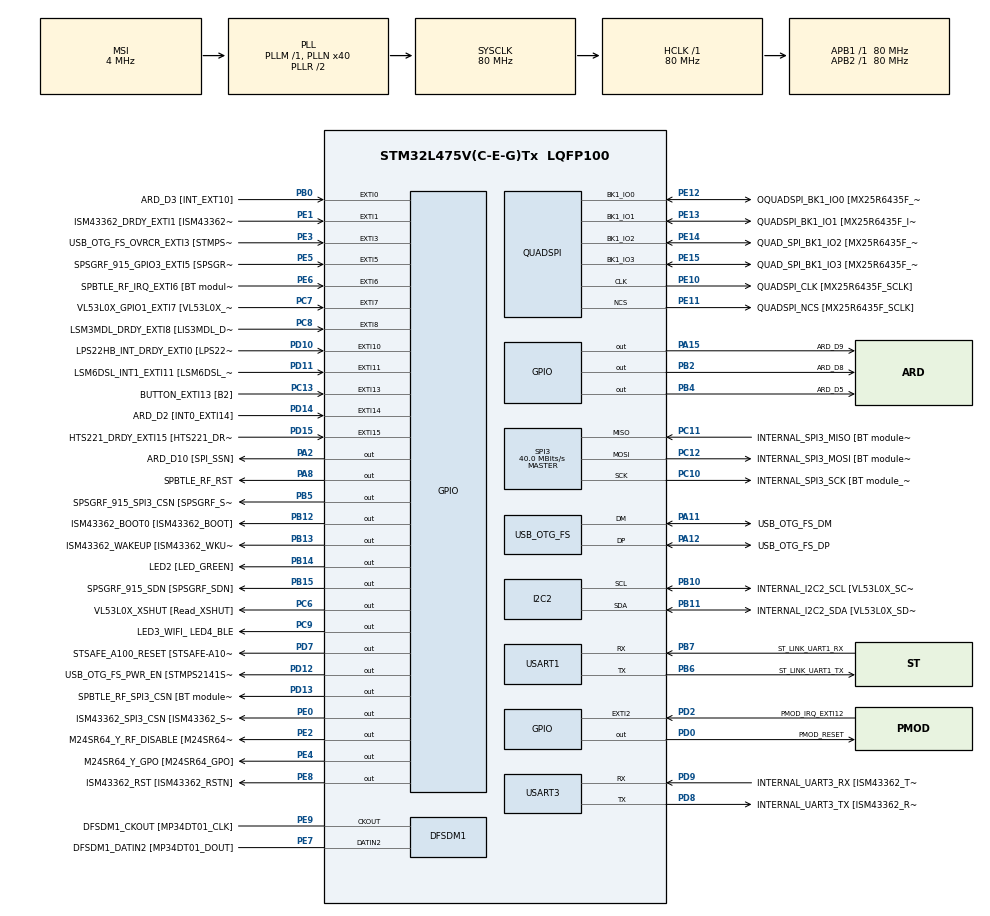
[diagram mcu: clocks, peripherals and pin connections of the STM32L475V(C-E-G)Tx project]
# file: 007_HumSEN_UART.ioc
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Mcu.Family=STM32L4
Mcu.Name=STM32L475V(C-E-G)Tx
Mcu.Package=LQFP100
NVIC.EXTI15_10_IRQn=true\:0\:0\:false\:false\:true\:true\:true\:true
NVIC.EXTI9_5_IRQn=true\:0\:0\:false\:false\:true\:true\:true\:true
NVIC.PriorityGroup=NVIC_PRIORITYGROUP_4
PA0.GPIO_Label=ARD_D1 [UART4_TX]
PA0.Signal=UART4_TX
PA1.GPIO_Label=ARD_D0 [UART4_RX]
PA1.Signal=UART4_RX
PA10.GPIO_Label=USB_OTG_FS_ID
PA10.Signal=USB_OTG_FS_ID
PA11.GPIO_Label=USB_OTG_FS_DM
PA11.Mode=Device_Only
PA11.Signal=USB_OTG_FS_DM
PA12.GPIO_Label=USB_OTG_FS_DP
PA12.Mode=Device_Only
PA12.Signal=USB_OTG_FS_DP
PA13\ (JTMS-SWDIO).GPIO_Label=SYS_JTMS_SWDIO
PA13\ (JTMS-SWDIO).Mode=Serial_Wire
PA13\ (JTMS-SWDIO).Signal=SYS_JTMS-SWDIO
PA14\ (JTCK-SWCLK).GPIO_Label=SYS_JTCK_SWCLK
PA14\ (JTCK-SWCLK).Mode=Serial_Wire
PA14\ (JTCK-SWCLK).Signal=SYS_JTCK-SWCLK
PA15\ (JTDI).GPIO_Label=ARD_D9
PA15\ (JTDI).Signal=GPIO_Output
PA2.GPIO_Label=ARD_D10 [SPI_SSN]
PA2.Signal=GPIO_Output
PA3.GPIO_Label=ARD_D4
PA3.Signal=S_TIM2_CH4
PA4.GPIO_Label=ARD_D7
PA4.Signal=ADCx_IN9
PA5.GPIO_Label=ARD_D13 [SPI1_SCK]
PA5.Signal=SPI1_SCK
PA6.GPIO_Label=ARD_D12 [SPI1_MISO]
PA6.Signal=SPI1_MISO
PA7.GPIO_Label=ARD_D11 [SPI1_MOSI]
PA7.Signal=SPI1_MOSI
PA8.GPIO_Label=SPBTLE_RF_RST
PA8.Signal=GPIO_Output
PA9.GPIO_Label=USB_OTG_FS_VBUS [STMPS2141STR_OUT]
PA9.Signal=USB_OTG_FS_VBUS
PB0.GPIO_Label=ARD_D3 [INT_EXT10]
PB0.Signal=GPXTI0
PB1.GPIO_Label=ARD_D6 [ADC1_IN6]
PB1.Signal=ADCx_IN16
PB10.GPIO_Label=INTERNAL_I2C2_SCL [VL53L0X_SCL]
PB10.GPIO_Pu=GPIO_PULLUP
PB10.Mode=I2C
PB10.Signal=I2C2_SCL
PB11.GPIO_Label=INTERNAL_I2C2_SDA [VL53L0X_SDA]
PB11.GPIO_Pu=GPIO_PULLUP
PB11.Mode=I2C
PB11.Signal=I2C2_SDA
PB12.GPIO_Label=ISM43362_BOOT0 [ISM43362_BOOT]
PB12.Signal=GPIO_Output
PB13.GPIO_Label=ISM43362_WAKEUP [ISM43362_WKUP]
PB13.Signal=GPIO_Output
PB14.GPIO_Label=LED2 [LED_GREEN]
PB14.Signal=GPIO_Output
PB15.GPIO_Label=SPSGRF_915_SDN [SPSGRF_SDN]
PB15.Signal=GPIO_Output
PB2.GPIO_Label=ARD_D8
PB2.Signal=GPIO_Output
PB3\ (JTDO-TRACESWO).GPIO_Label=SYS_JTD0_SWO
PB3\ (JTDO-TRACESWO).Signal=SYS_JTDO-SWO
PB4\ (NJTRST).GPIO_Label=ARD_D5
PB4\ (NJTRST).Signal=GPIO_Output
PB5.GPIO_Label=SPSGRF_915_SPI3_CSN [SPSGRF_SPI_CS]
PB5.PinState=GPIO_PIN_SET
PB5.Signal=GPIO_Output
PB6.GPIO_Label=ST_LINK_UART1_TX
PB6.Mode=Asynchronous
PB6.Signal=USART1_TX
PB7.GPIO_Label=ST_LINK_UART1_RX
PB7.Mode=Asynchronous
PB7.Signal=USART1_RX
PB8.GPIO_Label=ARD_D15 [I2C1_SCL]
PB8.Signal=I2C1_SCL
PB9.GPIO_Label=ARD_D14 [I2C1_SDA]
PB9.Signal=I2C1_SDA
PC0.GPIO_Label=ARD_A5 [ADC]
PC0.Signal=ADCx_IN1
PC1.GPIO_Label=ARD_A4 [ADC]
PC1.Signal=ADCx_IN2
PC10.GPIO_Label=INTERNAL_SPI3_SCK [BT module_SPI_SCLK] [ISM43362_SCK]
PC10.Mode=Full_Duplex_Master
PC10.Signal=SPI3_SCK
PC11.GPIO_Label=INTERNAL_SPI3_MISO [BT module_SPI_MISO] [ISM43362_MISO]
PC11.Mode=Full_Duplex_Master
PC11.Signal=SPI3_MISO
PC12.GPIO_Label=INTERNAL_SPI3_MOSI [BT module_SPI_MOSI] [ISM43362_MOSI]
PC12.Mode=Full_Duplex_Master
PC12.Signal=SPI3_MOSI
PC13.GPIO_Label=BUTTON_EXTI13 [B2]
PC13.GPIO_ModeDefaultEXTI=GPIO_MODE_IT_FALLING
PC13.Signal=GPXTI13
PC14-OSC32_IN\ (PC14).Mode=LSE-External-Oscillator
PC14-OSC32_IN\ (PC14).Signal=RCC_OSC32_IN
PC15-OSC32_OUT\ (PC15).Mode=LSE-External-Oscillator
PC15-OSC32_OUT\ (PC15).Signal=RCC_OSC32_OUT
PC2.GPIO_Label=ARD_A3 [ADC]
PC2.Signal=ADCx_IN3
PC3.GPIO_Label=ARD_A2 [ADC]
PC3.Signal=ADCx_IN4
PC4.GPIO_Label=ARD_A1 [ADC]
PC4.Signal=ADCx_IN13
PC5.GPIO_Label=ARD_A0 [ADC]
PC5.Signal=ADCx_IN14
PC6.GPIO_Label=VL53L0X_XSHUT [Read_XSHUT]
PC6.Signal=GPIO_Output
PC7.GPIO_Label=VL53L0X_GPIO1_EXTI7 [VL53L0X_GPIO1]
PC7.Signal=GPXTI7
PC8.GPIO_Label=LSM3MDL_DRDY_EXTI8 [LIS3MDL_DRDY]
PC8.Signal=GPXTI8
PC9.GPIO_Label=LED3_WIFI_ LED4_BLE
PC9.Signal=GPIO_Output
PD0.GPIO_Label=PMOD_RESET
PD0.Signal=GPIO_Output
PD1.GPIO_Label=PMOD_SPI2_SCK
PD1.Signal=SPI2_SCK
PD10.GPIO_Label=LPS22HB_INT_DRDY_EXTI0 [LPS22HB_INT_DRDY] 
PD10.Signal=GPXTI10
PD11.GPIO_Label=LSM6DSL_INT1_EXTI11 [LSM6DSL_INT1]
PD11.Signal=GPXTI11
PD12.GPIO_Label=USB_OTG_FS_PWR_EN [STMPS2141STR_EN]
PD12.Signal=GPIO_Output
PD13.GPIO_Label=SPBTLE_RF_SPI3_CSN [BT module_SPI_CS]
PD13.PinState=GPIO_PIN_SET
PD13.Signal=GPIO_Output
PD14.GPIO_Label=ARD_D2 [INT0_EXTI14]
PD14.Signal=GPXTI14
PD15.GPIO_Label=HTS221_DRDY_EXTI15 [HTS221_DRDY]
PD15.Signal=GPXTI15
PD2.GPIO_Label=PMOD_IRQ_EXTI12
PD2.Signal=GPXTI2
PD3.GPIO_Label=PMOD_UART2_CTS
PD3.Signal=USART2_CTS
PD4.GPIO_Label=PMOD_UART2_RTS
PD4.Signal=USART2_RTS
PD5.GPIO_Label=PMOD_UART2_TX
PD5.Signal=USART2_TX
PD6.GPIO_Label=PMOD_UART2_RX
PD6.Signal=USART2_RX
PD7.GPIO_Label=STSAFE_A100_RESET [STSAFE-A100_RESET]
PD7.Signal=GPIO_Output
PD8.GPIO_Label=INTERNAL_UART3_TX [ISM43362_RX]
PD8.Mode=Asynchronous
PD8.Signal=USART3_TX
PD9.GPIO_Label=INTERNAL_UART3_RX [ISM43362_TX]
PD9.Mode=Asynchronous
PD9.Signal=USART3_RX
PE0.GPIO_Label=ISM43362_SPI3_CSN [ISM43362_SSN]
PE0.PinState=GPIO_PIN_SET
PE0.Signal=GPIO_Output
PE1.GPIO_Label=ISM43362_DRDY_EXTI1 [ISM43362_DATARDY]
PE1.Signal=GPXTI1
PE10.GPIO_Label=QUADSPI_CLK [MX25R6435F_SCLK]
PE10.Mode=Single Bank
PE10.Signal=QUADSPI_CLK
PE11.GPIO_Label=QUADSPI_NCS [MX25R6435F_SCLK]
PE11.Mode=Single Bank
PE11.Signal=QUADSPI_NCS
PE12.GPIO_Label=OQUADSPI_BK1_IO0 [MX25R6435F_IO0]
PE12.Mode=Single Bank
PE12.Signal=QUADSPI_BK1_IO0
PE13.GPIO_Label=QUADSPI_BK1_IO1 [MX25R6435F_IO1]
PE13.Mode=Single Bank
PE13.Signal=QUADSPI_BK1_IO1
PE14.GPIO_Label=QUAD_SPI_BK1_IO2 [MX25R6435F_IO2]
PE14.Mode=Single Bank
PE14.Signal=QUADSPI_BK1_IO2
PE15.GPIO_Label=QUAD_SPI_BK1_IO3 [MX25R6435F_IO3]
PE15.Mode=Single Bank
PE15.Signal=QUADSPI_BK1_IO3
PE2.GPIO_Label=M24SR64_Y_RF_DISABLE [M24SR64_RFDIS]
PE2.Signal=GPIO_Output
PE3.GPIO_Label=USB_OTG_FS_OVRCR_EXTI3 [STMPS2141STR_FAULT]
PE3.Signal=GPXTI3
PE4.GPIO_Label=M24SR64_Y_GPO [M24SR64_GPO]
PE4.Signal=GPIO_Output
PE5.GPIO_Label=SPSGRF_915_GPIO3_EXTI5 [SPSGRF_GPIO_3]
PE5.Signal=GPXTI5
PE6.GPIO_Label=SPBTLE_RF_IRQ_EXTI6 [BT module_SPI_IRQ]
PE6.Signal=GPXTI6
PE7.GPIO_Label=DFSDM1_DATIN2 [MP34DT01_DOUT]
PE7.Signal=S_DATAIN2DFSDM1
PE8.GPIO_Label=ISM43362_RST [ISM43362_RSTN]
PE8.Signal=GPIO_Output
PE9.GPIO_Label=DFSDM1_CKOUT [MP34DT01_CLK]
PE9.Signal=S_CKOUTDFSDM1
ProjectManager.HeapSize=0x200
ProjectManager.StackSize=0x400
ProjectManager.TargetToolchain=STM32CubeIDE
QUADSPI.ClockPrescaler=2
QUADSPI.FifoThreshold=4
QUADSPI.FlashSize=23
QUADSPI.SampleShifting=QSPI_SAMPLE_SHIFTING_HALFCYCLE
RCC.ADCFreq_Value=48000000
RCC.AHBFreq_Value=80000000
RCC.APB1Freq_Value=80000000
RCC.APB1TimFreq_Value=80000000
RCC.APB2Freq_Value=80000000
RCC.APB2TimFreq_Value=80000000
RCC.CortexFreq_Value=80000000
RCC.HCLKFreq_Value=80000000
RCC.HSE_VALUE=8000000
RCC.HSI_VALUE=16000000
RCC.MSI_VALUE=4000000
RCC.PLLN=40
RCC.PLLSAI1N=24
RCC.SYSCLKFreq_VALUE=80000000
RCC.SYSCLKSource=RCC_SYSCLKSOURCE_PLLCLK
RCC.USBFreq_Value=48000000
RCC.VCOOutputFreq_Value=160000000
SH.ADCx_IN1.0=ADC1_IN1
SH.ADCx_IN13.0=ADC1_IN13
SH.ADCx_IN14.0=ADC1_IN14
SH.ADCx_IN16.0=ADC1_IN16
SH.ADCx_IN2.0=ADC1_IN2
SH.ADCx_IN3.0=ADC1_IN3
SH.ADCx_IN4.0=ADC1_IN4
SH.ADCx_IN9.0=ADC1_IN9
SH.S_CKOUTDFSDM1.0=DFSDM1_CKOUT,CKOUT
SH.S_CKOUTDFSDM1.1=DFSDM1_CKOUT,PDM_SPI_Input_from_ch12_and_Internal_Clock
SH.S_DATAIN2DFSDM1.0=DFSDM1_DATIN2,PDM_SPI_Input_from_ch12_and_Internal_Clock
SH.S_TIM2_CH4.0=TIM2_CH4
SPI3.CalculateBaudRate=40.0 MBits/s
SPI3.Direction=SPI_DIRECTION_2LINES
SPI3.Mode=SPI_MODE_MASTER
SPI3.VirtualType=VM_MASTER
USART1.VirtualMode-Asynchronous=VM_ASYNC
USART3.VirtualMode-Asynchronous=VM_ASYNC
USB_OTG_FS.VirtualMode=Device_Only
board=B-L475E-IOT01A2

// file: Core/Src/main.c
/* USER CODE BEGIN Header */
/**
  ******************************************************************************
  * @file           : main.c
  * @brief          : Main program body
  ******************************************************************************
  * @attention
  *
  * Copyright (c) 2024 STMicroelectronics.
  * All rights reserved.
  *
  * This software is licensed under terms that can be found in the LICENSE file
  * in the root directory of this software component.
  * If no LICENSE file comes with this software, it is provided AS-IS.
  *
  ******************************************************************************
  */
/* USER CODE END Header */
#include "main.h"

/* USER CODE BEGIN Includes */
#include <stdio.h>
#include "stm32l475e_iot01.h"
#include "stm32l475e_iot01_hsensor.h"
#include <math.h>
/* USER CODE END Includes */

DFSDM_Channel_HandleTypeDef hdfsdm1_channel1;

I2C_HandleTypeDef hi2c2;

QSPI_HandleTypeDef hqspi;

SPI_HandleTypeDef hspi3;

UART_HandleTypeDef huart1;
UART_HandleTypeDef huart3;

PCD_HandleTypeDef hpcd_USB_OTG_FS;

/* USER CODE BEGIN PV */

float humidity_value = 0;  // Measured temperature value
char str_tmp[100] = ""; // Formatted message to display the temperature value
uint8_t msg0[] = "$$$$$$ A Project by @Balaji303 $$$$$$\n\n\r";
uint8_t msg1[] = "****** Humidity values measurement ******\n\n\r";
uint8_t msg2[] = "=====> Initialize Humidity sensor HTS221 \r\n";
uint8_t msg3[] = "=====> Humidity sensor HTS221 initialized \r\n ";
uint8_t art0[] = "       ,.,\r\n ";
uint8_t art1[] = "      MMMM_    ,..,\r\n ";
uint8_t art2[] = "        \"_ \"__\"MMMMM          ,...,,\r\n ";
uint8_t art3[] = " ,..., __.\" --\"    ,.,     _-\"MMMMMMM\r\n ";
uint8_t art4[] = "MMMMMM\"___ \"_._   MMM\"_.\"\" _ \"\"\"\"\"\"\r\n ";
uint8_t art5[] = "  \"\"\"\"\"    \"\" , \_.   \"_. .\"\r\n ";
uint8_t art6[] = "        ,., _\"__ \__./ .\"\r\n ";
uint8_t art7[] = "       MMMMM_\"  \"_    ./\r\n ";
uint8_t art8[] = "        ''''      (    )\r\n ";
uint8_t art9[] = " ._______________.-'____\"---._.\r\n ";
uint8_t art10[] = "  \\       @Balaji303         /\r\n ";
uint8_t art11[] = "   \\________________________/\r\n";
uint8_t art12[] = "    (_)                    (_)\r\n ";

uint8_t train1[] = "                                          &&&&&&&&&\n\r";
uint8_t train2[] = "                                        &&&\n\r";
uint8_t train3[] = "                                       &&\n\r";
uint8_t train4[] = "                                      &  _____ ___________\n\r";
uint8_t train5[] = "                                     II__|[] | |   I I   |\n\r";
uint8_t train6[] = "       @Balaji303                   |        |_|_  I I  _|\n\r";
uint8_t train7[] = "                                   < OO----OOO   OO---OO\n\r";
uint8_t train8[] = "**********************************************************\n\r";

uint8_t rain1[] = "                                          &&&&&&&&&\n\r                                        &&&\n\r                                       &&\n\r                                      &  _____ ___________\n\r                                     II__|[] | |   I I   |\n\r       @Balaji303                   |        |_|_  I I  _|\n\r                                   < OO----OOO   OO---OO\n\r**********************************************************\n\r";
/* USER CODE END PV */

void SystemClock_Config(void);
static void MX_GPIO_Init(void);
static void MX_DFSDM1_Init(void);
static void MX_I2C2_Init(void);
static void MX_QUADSPI_Init(void);
static void MX_SPI3_Init(void);
static void MX_USART1_UART_Init(void);
static void MX_USART3_UART_Init(void);
static void MX_USB_OTG_FS_PCD_Init(void);

int main(void)
{

  /* MCU Configuration--------------------------------------------------------*/

  /* Reset of all peripherals, Initializes the Flash interface and the Systick. */
  HAL_Init();

  /* Configure the system clock */
  SystemClock_Config();

  /* Initialize all configured peripherals */
  MX_GPIO_Init();
  MX_DFSDM1_Init();
  MX_I2C2_Init();
  MX_QUADSPI_Init();
  MX_SPI3_Init();
  MX_USART1_UART_Init();
  MX_USART3_UART_Init();
  MX_USB_OTG_FS_PCD_Init();
  /* USER CODE BEGIN 2 */
  HAL_UART_Transmit(&huart1,art0,sizeof(art0),1000);
  HAL_UART_Transmit(&huart1,art1,sizeof(art1),1000);
  HAL_UART_Transmit(&huart1,art2,sizeof(art2),1000);
  HAL_UART_Transmit(&huart1,art3,sizeof(art3),1000);
  HAL_UART_Transmit(&huart1,art4,sizeof(art4),1000);
  HAL_UART_Transmit(&huart1,art5,sizeof(art5),1000);
  HAL_UART_Transmit(&huart1,art6,sizeof(art6),1000);
  HAL_UART_Transmit(&huart1,art7,sizeof(art7),1000);
  HAL_UART_Transmit(&huart1,art8,sizeof(art8),1000);
  HAL_UART_Transmit(&huart1,art9,sizeof(art9),1000);
  HAL_UART_Transmit(&huart1,art10,sizeof(art10),1000);
  HAL_UART_Transmit(&huart1,art11,sizeof(art11),1000);
  HAL_UART_Transmit(&huart1,art12,sizeof(art12),1000);

//  HAL_UART_Transmit(&huart1,train1,sizeof(train1),1000);
//  HAL_UART_Transmit(&huart1,train2,sizeof(train2),1000);
//  HAL_UART_Transmit(&huart1,train3,sizeof(train3),1000);
//  HAL_UART_Transmit(&huart1,train4,sizeof(train4),1000);
//  HAL_UART_Transmit(&huart1,train5,sizeof(train5),1000);
//  HAL_UART_Transmit(&huart1,train6,sizeof(train6),1000);
//  HAL_UART_Transmit(&huart1,train7,sizeof(train7),1000);
//  HAL_UART_Transmit(&huart1,train8,sizeof(train8),1000);

    HAL_UART_Transmit(&huart1,rain1,sizeof(rain1),1000);

  HAL_UART_Transmit(&huart1,msg0,sizeof(msg1),1000);
  HAL_UART_Transmit(&huart1,msg1,sizeof(msg1),1000);
  HAL_UART_Transmit(&huart1,msg2,sizeof(msg2),1000);
  BSP_HSENSOR_Init();
  HAL_UART_Transmit(&huart1,msg3,sizeof(msg3),1000);
  /* USER CODE END 2 */

  /* Infinite loop */
  while (1)
  {

    /* USER CODE BEGIN 3 */
	  humidity_value = BSP_HSENSOR_ReadHumidity();
	  int tmpInt1 = humidity_value;
	  float tmpFrac = humidity_value - tmpInt1;
	  int tmpInt2 = trunc(tmpFrac * 100);
	  snprintf(str_tmp,100,"  Humidity = %d.%02d\n\r", tmpInt1, tmpInt2);
	  HAL_UART_Transmit(&huart1,( uint8_t *)str_tmp,sizeof(str_tmp),1000);
	  HAL_Delay(1000);
  }
  /* USER CODE END 3 */
}

void SystemClock_Config(void)
{
  RCC_OscInitTypeDef RCC_OscInitStruct = {0};
  RCC_ClkInitTypeDef RCC_ClkInitStruct = {0};

  /** Configure the main internal regulator output voltage
  */
  if (HAL_PWREx_ControlVoltageScaling(PWR_REGULATOR_VOLTAGE_SCALE1) != HAL_OK)
  {
    Error_Handler();
  }

  /** Configure LSE Drive Capability
  */
  HAL_PWR_EnableBkUpAccess();
  __HAL_RCC_LSEDRIVE_CONFIG(RCC_LSEDRIVE_LOW);

  /** Initializes the RCC Oscillators according to the specified parameters
  * in the RCC_OscInitTypeDef structure.
  */
  RCC_OscInitStruct.OscillatorType = RCC_OSCILLATORTYPE_LSE|RCC_OSCILLATORTYPE_MSI;
  RCC_OscInitStruct.LSEState = RCC_LSE_ON;
  RCC_OscInitStruct.MSIState = RCC_MSI_ON;
  RCC_OscInitStruct.MSICalibrationValue = 0;
  RCC_OscInitStruct.MSIClockRange = RCC_MSIRANGE_6;
  RCC_OscInitStruct.PLL.PLLState = RCC_PLL_ON;
  RCC_OscInitStruct.PLL.PLLSource = RCC_PLLSOURCE_MSI;
  RCC_OscInitStruct.PLL.PLLM = 1;
  RCC_OscInitStruct.PLL.PLLN = 40;
  RCC_OscInitStruct.PLL.PLLP = RCC_PLLP_DIV7;
  RCC_OscInitStruct.PLL.PLLQ = RCC_PLLQ_DIV2;
  RCC_OscInitStruct.PLL.PLLR = RCC_PLLR_DIV2;
  if (HAL_RCC_OscConfig(&RCC_OscInitStruct) != HAL_OK)
  {
    Error_Handler();
  }

  /** Initializes the CPU, AHB and APB buses clocks
  */
  RCC_ClkInitStruct.ClockType = RCC_CLOCKTYPE_HCLK|RCC_CLOCKTYPE_SYSCLK
                              |RCC_CLOCKTYPE_PCLK1|RCC_CLOCKTYPE_PCLK2;
  RCC_ClkInitStruct.SYSCLKSource = RCC_SYSCLKSOURCE_PLLCLK;
  RCC_ClkInitStruct.AHBCLKDivider = RCC_SYSCLK_DIV1;
  RCC_ClkInitStruct.APB1CLKDivider = RCC_HCLK_DIV1;
  RCC_ClkInitStruct.APB2CLKDivider = RCC_HCLK_DIV1;

  if (HAL_RCC_ClockConfig(&RCC_ClkInitStruct, FLASH_LATENCY_4) != HAL_OK)
  {
    Error_Handler();
  }

  /** Enable MSI Auto calibration
  */
  HAL_RCCEx_EnableMSIPLLMode();
}

static void MX_DFSDM1_Init(void)
{

  hdfsdm1_channel1.Instance = DFSDM1_Channel1;
  hdfsdm1_channel1.Init.OutputClock.Activation = ENABLE;
  hdfsdm1_channel1.Init.OutputClock.Selection = DFSDM_CHANNEL_OUTPUT_CLOCK_SYSTEM;
  hdfsdm1_channel1.Init.OutputClock.Divider = 2;
  hdfsdm1_channel1.Init.Input.Multiplexer = DFSDM_CHANNEL_EXTERNAL_INPUTS;
  hdfsdm1_channel1.Init.Input.DataPacking = DFSDM_CHANNEL_STANDARD_MODE;
  hdfsdm1_channel1.Init.Input.Pins = DFSDM_CHANNEL_FOLLOWING_CHANNEL_PINS;
  hdfsdm1_channel1.Init.SerialInterface.Type = DFSDM_CHANNEL_SPI_RISING;
  hdfsdm1_channel1.Init.SerialInterface.SpiClock = DFSDM_CHANNEL_SPI_CLOCK_INTERNAL;
  hdfsdm1_channel1.Init.Awd.FilterOrder = DFSDM_CHANNEL_FASTSINC_ORDER;
  hdfsdm1_channel1.Init.Awd.Oversampling = 1;
  hdfsdm1_channel1.Init.Offset = 0;
  hdfsdm1_channel1.Init.RightBitShift = 0x00;
  if (HAL_DFSDM_ChannelInit(&hdfsdm1_channel1) != HAL_OK)
  {
    Error_Handler();
  }

}

static void MX_I2C2_Init(void)
{

  hi2c2.Instance = I2C2;
  hi2c2.Init.Timing = 0x00000E14;
  hi2c2.Init.OwnAddress1 = 0;
  hi2c2.Init.AddressingMode = I2C_ADDRESSINGMODE_7BIT;
  hi2c2.Init.DualAddressMode = I2C_DUALADDRESS_DISABLE;
  hi2c2.Init.OwnAddress2 = 0;
  hi2c2.Init.OwnAddress2Masks = I2C_OA2_NOMASK;
  hi2c2.Init.GeneralCallMode = I2C_GENERALCALL_DISABLE;
  hi2c2.Init.NoStretchMode = I2C_NOSTRETCH_DISABLE;
  if (HAL_I2C_Init(&hi2c2) != HAL_OK)
  {
    Error_Handler();
  }

  /** Configure Analogue filter
  */
  if (HAL_I2CEx_ConfigAnalogFilter(&hi2c2, I2C_ANALOGFILTER_ENABLE) != HAL_OK)
  {
    Error_Handler();
  }

  /** Configure Digital filter
  */
  if (HAL_I2CEx_ConfigDigitalFilter(&hi2c2, 0) != HAL_OK)
  {
    Error_Handler();
  }

}

static void MX_QUADSPI_Init(void)
{

  /* QUADSPI parameter configuration*/
  hqspi.Instance = QUADSPI;
  hqspi.Init.ClockPrescaler = 2;
  hqspi.Init.FifoThreshold = 4;
  hqspi.Init.SampleShifting = QSPI_SAMPLE_SHIFTING_HALFCYCLE;
  hqspi.Init.FlashSize = 23;
  hqspi.Init.ChipSelectHighTime = QSPI_CS_HIGH_TIME_1_CYCLE;
  hqspi.Init.ClockMode = QSPI_CLOCK_MODE_0;
  if (HAL_QSPI_Init(&hqspi) != HAL_OK)
  {
    Error_Handler();
  }

}

static void MX_SPI3_Init(void)
{

  /* SPI3 parameter configuration*/
  hspi3.Instance = SPI3;
  hspi3.Init.Mode = SPI_MODE_MASTER;
  hspi3.Init.Direction = SPI_DIRECTION_2LINES;
  hspi3.Init.DataSize = SPI_DATASIZE_4BIT;
  hspi3.Init.CLKPolarity = SPI_POLARITY_LOW;
  hspi3.Init.CLKPhase = SPI_PHASE_1EDGE;
  hspi3.Init.NSS = SPI_NSS_SOFT;
  hspi3.Init.BaudRatePrescaler = SPI_BAUDRATEPRESCALER_2;
  hspi3.Init.FirstBit = SPI_FIRSTBIT_MSB;
  hspi3.Init.TIMode = SPI_TIMODE_DISABLE;
  hspi3.Init.CRCCalculation = SPI_CRCCALCULATION_DISABLE;
  hspi3.Init.CRCPolynomial = 7;
  hspi3.Init.CRCLength = SPI_CRC_LENGTH_DATASIZE;
  hspi3.Init.NSSPMode = SPI_NSS_PULSE_ENABLE;
  if (HAL_SPI_Init(&hspi3) != HAL_OK)
  {
    Error_Handler();
  }

}

static void MX_USART1_UART_Init(void)
{

  huart1.Instance = USART1;
  huart1.Init.BaudRate = 115200;
  huart1.Init.WordLength = UART_WORDLENGTH_8B;
  huart1.Init.StopBits = UART_STOPBITS_1;
  huart1.Init.Parity = UART_PARITY_NONE;
  huart1.Init.Mode = UART_MODE_TX_RX;
  huart1.Init.HwFlowCtl = UART_HWCONTROL_NONE;
  huart1.Init.OverSampling = UART_OVERSAMPLING_16;
  huart1.Init.OneBitSampling = UART_ONE_BIT_SAMPLE_DISABLE;
  huart1.AdvancedInit.AdvFeatureInit = UART_ADVFEATURE_NO_INIT;
  if (HAL_UART_Init(&huart1) != HAL_OK)
  {
    Error_Handler();
  }

}

static void MX_USART3_UART_Init(void)
{

  huart3.Instance = USART3;
  huart3.Init.BaudRate = 115200;
  huart3.Init.WordLength = UART_WORDLENGTH_8B;
  huart3.Init.StopBits = UART_STOPBITS_1;
  huart3.Init.Parity = UART_PARITY_NONE;
  huart3.Init.Mode = UART_MODE_TX_RX;
  huart3.Init.HwFlowCtl = UART_HWCONTROL_NONE;
  huart3.Init.OverSampling = UART_OVERSAMPLING_16;
  huart3.Init.OneBitSampling = UART_ONE_BIT_SAMPLE_DISABLE;
  huart3.AdvancedInit.AdvFeatureInit = UART_ADVFEATURE_NO_INIT;
  if (HAL_UART_Init(&huart3) != HAL_OK)
  {
    Error_Handler();
  }

}

static void MX_USB_OTG_FS_PCD_Init(void)
{

  hpcd_USB_OTG_FS.Instance = USB_OTG_FS;
  hpcd_USB_OTG_FS.Init.dev_endpoints = 6;
  hpcd_USB_OTG_FS.Init.speed = PCD_SPEED_FULL;
  hpcd_USB_OTG_FS.Init.phy_itface = PCD_PHY_EMBEDDED;
  hpcd_USB_OTG_FS.Init.Sof_enable = DISABLE;
  hpcd_USB_OTG_FS.Init.low_power_enable = DISABLE;
  hpcd_USB_OTG_FS.Init.lpm_enable = DISABLE;
  hpcd_USB_OTG_FS.Init.battery_charging_enable = DISABLE;
  hpcd_USB_OTG_FS.Init.use_dedicated_ep1 = DISABLE;
  hpcd_USB_OTG_FS.Init.vbus_sensing_enable = DISABLE;
  if (HAL_PCD_Init(&hpcd_USB_OTG_FS) != HAL_OK)
  {
    Error_Handler();
  }

}

static void MX_GPIO_Init(void)
{
  GPIO_InitTypeDef GPIO_InitStruct = {0};

  /* GPIO Ports Clock Enable */
  __HAL_RCC_GPIOE_CLK_ENABLE();
  __HAL_RCC_GPIOC_CLK_ENABLE();
  __HAL_RCC_GPIOA_CLK_ENABLE();
  __HAL_RCC_GPIOB_CLK_ENABLE();
  __HAL_RCC_GPIOD_CLK_ENABLE();

  /*Configure GPIO pin Output Level */
  HAL_GPIO_WritePin(GPIOE, M24SR64_Y_RF_DISABLE_Pin|M24SR64_Y_GPO_Pin|ISM43362_RST_Pin, GPIO_PIN_RESET);

  /*Configure GPIO pin Output Level */
  HAL_GPIO_WritePin(GPIOA, ARD_D10_Pin|SPBTLE_RF_RST_Pin|ARD_D9_Pin, GPIO_PIN_RESET);

  /*Configure GPIO pin Output Level */
  HAL_GPIO_WritePin(GPIOB, ARD_D8_Pin|ISM43362_BOOT0_Pin|ISM43362_WAKEUP_Pin|LED2_Pin
                          |SPSGRF_915_SDN_Pin|ARD_D5_Pin, GPIO_PIN_RESET);

  /*Configure GPIO pin Output Level */
  HAL_GPIO_WritePin(GPIOD, USB_OTG_FS_PWR_EN_Pin|PMOD_RESET_Pin|STSAFE_A100_RESET_Pin, GPIO_PIN_RESET);

  /*Configure GPIO pin Output Level */
  HAL_GPIO_WritePin(SPBTLE_RF_SPI3_CSN_GPIO_Port, SPBTLE_RF_SPI3_CSN_Pin, GPIO_PIN_SET);

  /*Configure GPIO pin Output Level */
  HAL_GPIO_WritePin(GPIOC, VL53L0X_XSHUT_Pin|LED3_WIFI__LED4_BLE_Pin, GPIO_PIN_RESET);

  /*Configure GPIO pin Output Level */
  HAL_GPIO_WritePin(SPSGRF_915_SPI3_CSN_GPIO_Port, SPSGRF_915_SPI3_CSN_Pin, GPIO_PIN_SET);

  /*Configure GPIO pin Output Level */
  HAL_GPIO_WritePin(ISM43362_SPI3_CSN_GPIO_Port, ISM43362_SPI3_CSN_Pin, GPIO_PIN_SET);

  /*Configure GPIO pins : M24SR64_Y_RF_DISABLE_Pin M24SR64_Y_GPO_Pin ISM43362_RST_Pin ISM43362_SPI3_CSN_Pin */
  GPIO_InitStruct.Pin = M24SR64_Y_RF_DISABLE_Pin|M24SR64_Y_GPO_Pin|ISM43362_RST_Pin|ISM43362_SPI3_CSN_Pin;
  GPIO_InitStruct.Mode = GPIO_MODE_OUTPUT_PP;
  GPIO_InitStruct.Pull = GPIO_NOPULL;
  GPIO_InitStruct.Speed = GPIO_SPEED_FREQ_LOW;
  HAL_GPIO_Init(GPIOE, &GPIO_InitStruct);

  /*Configure GPIO pins : USB_OTG_FS_OVRCR_EXTI3_Pin SPSGRF_915_GPIO3_EXTI5_Pin SPBTLE_RF_IRQ_EXTI6_Pin ISM43362_DRDY_EXTI1_Pin */
  GPIO_InitStruct.Pin = USB_OTG_FS_OVRCR_EXTI3_Pin|SPSGRF_915_GPIO3_EXTI5_Pin|SPBTLE_RF_IRQ_EXTI6_Pin|ISM43362_DRDY_EXTI1_Pin;
  GPIO_InitStruct.Mode = GPIO_MODE_IT_RISING;
  GPIO_InitStruct.Pull = GPIO_NOPULL;
  HAL_GPIO_Init(GPIOE, &GPIO_InitStruct);

  /*Configure GPIO pin : BUTTON_EXTI13_Pin */
  GPIO_InitStruct.Pin = BUTTON_EXTI13_Pin;
  GPIO_InitStruct.Mode = GPIO_MODE_IT_FALLING;
  GPIO_InitStruct.Pull = GPIO_NOPULL;
  HAL_GPIO_Init(BUTTON_EXTI13_GPIO_Port, &GPIO_InitStruct);

  /*Configure GPIO pins : ARD_A5_Pin ARD_A4_Pin ARD_A3_Pin ARD_A2_Pin
                           ARD_A1_Pin ARD_A0_Pin */
  GPIO_InitStruct.Pin = ARD_A5_Pin|ARD_A4_Pin|ARD_A3_Pin|ARD_A2_Pin
                          |ARD_A1_Pin|ARD_A0_Pin;
  GPIO_InitStruct.Mode = GPIO_MODE_ANALOG_ADC_CONTROL;
  GPIO_InitStruct.Pull = GPIO_NOPULL;
  HAL_GPIO_Init(GPIOC, &GPIO_InitStruct);

  /*Configure GPIO pins : ARD_D1_Pin ARD_D0_Pin */
  GPIO_InitStruct.Pin = ARD_D1_Pin|ARD_D0_Pin;
  GPIO_InitStruct.Mode = GPIO_MODE_AF_PP;
  GPIO_InitStruct.Pull = GPIO_NOPULL;
  GPIO_InitStruct.Speed = GPIO_SPEED_FREQ_VERY_HIGH;
  GPIO_InitStruct.Alternate = GPIO_AF8_UART4;
  HAL_GPIO_Init(GPIOA, &GPIO_InitStruct);

  /*Configure GPIO pins : ARD_D10_Pin SPBTLE_RF_RST_Pin ARD_D9_Pin */
  GPIO_InitStruct.Pin = ARD_D10_Pin|SPBTLE_RF_RST_Pin|ARD_D9_Pin;
  GPIO_InitStruct.Mode = GPIO_MODE_OUTPUT_PP;
  GPIO_InitStruct.Pull = GPIO_NOPULL;
  GPIO_InitStruct.Speed = GPIO_SPEED_FREQ_LOW;
  HAL_GPIO_Init(GPIOA, &GPIO_InitStruct);

  /*Configure GPIO pin : ARD_D4_Pin */
  GPIO_InitStruct.Pin = ARD_D4_Pin;
  GPIO_InitStruct.Mode = GPIO_MODE_AF_PP;
  GPIO_InitStruct.Pull = GPIO_NOPULL;
  GPIO_InitStruct.Speed = GPIO_SPEED_FREQ_LOW;
  GPIO_InitStruct.Alternate = GPIO_AF1_TIM2;
  HAL_GPIO_Init(ARD_D4_GPIO_Port, &GPIO_InitStruct);

  /*Configure GPIO pin : ARD_D7_Pin */
  GPIO_InitStruct.Pin = ARD_D7_Pin;
  GPIO_InitStruct.Mode = GPIO_MODE_ANALOG_ADC_CONTROL;
  GPIO_InitStruct.Pull = GPIO_NOPULL;
  HAL_GPIO_Init(ARD_D7_GPIO_Port, &GPIO_InitStruct);

  /*Configure GPIO pins : ARD_D13_Pin ARD_D12_Pin ARD_D11_Pin */
  GPIO_InitStruct.Pin = ARD_D13_Pin|ARD_D12_Pin|ARD_D11_Pin;
  GPIO_InitStruct.Mode = GPIO_MODE_AF_PP;
  GPIO_InitStruct.Pull = GPIO_NOPULL;
  GPIO_InitStruct.Speed = GPIO_SPEED_FREQ_VERY_HIGH;
  GPIO_InitStruct.Alternate = GPIO_AF5_SPI1;
  HAL_GPIO_Init(GPIOA, &GPIO_InitStruct);

  /*Configure GPIO pin : ARD_D3_Pin */
  GPIO_InitStruct.Pin = ARD_D3_Pin;
  GPIO_InitStruct.Mode = GPIO_MODE_IT_RISING;
  GPIO_InitStruct.Pull = GPIO_NOPULL;
  HAL_GPIO_Init(ARD_D3_GPIO_Port, &GPIO_InitStruct);

  /*Configure GPIO pin : ARD_D6_Pin */
  GPIO_InitStruct.Pin = ARD_D6_Pin;
  GPIO_InitStruct.Mode = GPIO_MODE_ANALOG_ADC_CONTROL;
  GPIO_InitStruct.Pull = GPIO_NOPULL;
  HAL_GPIO_Init(ARD_D6_GPIO_Port, &GPIO_InitStruct);

  /*Configure GPIO pins : ARD_D8_Pin ISM43362_BOOT0_Pin ISM43362_WAKEUP_Pin LED2_Pin
                           SPSGRF_915_SDN_Pin ARD_D5_Pin SPSGRF_915_SPI3_CSN_Pin */
  GPIO_InitStruct.Pin = ARD_D8_Pin|ISM43362_BOOT0_Pin|ISM43362_WAKEUP_Pin|LED2_Pin
                          |SPSGRF_915_SDN_Pin|ARD_D5_Pin|SPSGRF_915_SPI3_CSN_Pin;
  GPIO_InitStruct.Mode = GPIO_MODE_OUTPUT_PP;
  GPIO_InitStruct.Pull = GPIO_NOPULL;
  GPIO_InitStruct.Speed = GPIO_SPEED_FREQ_LOW;
  HAL_GPIO_Init(GPIOB, &GPIO_InitStruct);

  /*Configure GPIO pins : LPS22HB_INT_DRDY_EXTI0_Pin LSM6DSL_INT1_EXTI11_Pin ARD_D2_Pin HTS221_DRDY_EXTI15_Pin
                           PMOD_IRQ_EXTI12_Pin */
  GPIO_InitStruct.Pin = LPS22HB_INT_DRDY_EXTI0_Pin|LSM6DSL_INT1_EXTI11_Pin|ARD_D2_Pin|HTS221_DRDY_EXTI15_Pin
                          |PMOD_IRQ_EXTI12_Pin;
  GPIO_InitStruct.Mode = GPIO_MODE_IT_RISING;
  GPIO_InitStruct.Pull = GPIO_NOPULL;
  HAL_GPIO_Init(GPIOD, &GPIO_InitStruct);

  /*Configure GPIO pins : USB_OTG_FS_PWR_EN_Pin SPBTLE_RF_SPI3_CSN_Pin PMOD_RESET_Pin STSAFE_A100_RESET_Pin */
  GPIO_InitStruct.Pin = USB_OTG_FS_PWR_EN_Pin|SPBTLE_RF_SPI3_CSN_Pin|PMOD_RESET_Pin|STSAFE_A100_RESET_Pin;
  GPIO_InitStruct.Mode = GPIO_MODE_OUTPUT_PP;
  GPIO_InitStruct.Pull = GPIO_NOPULL;
  GPIO_InitStruct.Speed = GPIO_SPEED_FREQ_LOW;
  HAL_GPIO_Init(GPIOD, &GPIO_InitStruct);

  /*Configure GPIO pins : VL53L0X_XSHUT_Pin LED3_WIFI__LED4_BLE_Pin */
  GPIO_InitStruct.Pin = VL53L0X_XSHUT_Pin|LED3_WIFI__LED4_BLE_Pin;
  GPIO_InitStruct.Mode = GPIO_MODE_OUTPUT_PP;
  GPIO_InitStruct.Pull = GPIO_NOPULL;
  GPIO_InitStruct.Speed = GPIO_SPEED_FREQ_LOW;
  HAL_GPIO_Init(GPIOC, &GPIO_InitStruct);

  /*Configure GPIO pins : VL53L0X_GPIO1_EXTI7_Pin LSM3MDL_DRDY_EXTI8_Pin */
  GPIO_InitStruct.Pin = VL53L0X_GPIO1_EXTI7_Pin|LSM3MDL_DRDY_EXTI8_Pin;
  GPIO_InitStruct.Mode = GPIO_MODE_IT_RISING;
  GPIO_InitStruct.Pull = GPIO_NOPULL;
  HAL_GPIO_Init(GPIOC, &GPIO_InitStruct);

  /*Configure GPIO pin : PMOD_SPI2_SCK_Pin */
  GPIO_InitStruct.Pin = PMOD_SPI2_SCK_Pin;
  GPIO_InitStruct.Mode = GPIO_MODE_AF_PP;
  GPIO_InitStruct.Pull = GPIO_NOPULL;
  GPIO_InitStruct.Speed = GPIO_SPEED_FREQ_VERY_HIGH;
  GPIO_InitStruct.Alternate = GPIO_AF5_SPI2;
  HAL_GPIO_Init(PMOD_SPI2_SCK_GPIO_Port, &GPIO_InitStruct);

  /*Configure GPIO pins : PMOD_UART2_CTS_Pin PMOD_UART2_RTS_Pin PMOD_UART2_TX_Pin PMOD_UART2_RX_Pin */
  GPIO_InitStruct.Pin = PMOD_UART2_CTS_Pin|PMOD_UART2_RTS_Pin|PMOD_UART2_TX_Pin|PMOD_UART2_RX_Pin;
  GPIO_InitStruct.Mode = GPIO_MODE_AF_PP;
  GPIO_InitStruct.Pull = GPIO_NOPULL;
  GPIO_InitStruct.Speed = GPIO_SPEED_FREQ_VERY_HIGH;
  GPIO_InitStruct.Alternate = GPIO_AF7_USART2;
  HAL_GPIO_Init(GPIOD, &GPIO_InitStruct);

  /*Configure GPIO pins : ARD_D15_Pin ARD_D14_Pin */
  GPIO_InitStruct.Pin = ARD_D15_Pin|ARD_D14_Pin;
  GPIO_InitStruct.Mode = GPIO_MODE_AF_OD;
  GPIO_InitStruct.Pull = GPIO_NOPULL;
  GPIO_InitStruct.Speed = GPIO_SPEED_FREQ_VERY_HIGH;
  GPIO_InitStruct.Alternate = GPIO_AF4_I2C1;
  HAL_GPIO_Init(GPIOB, &GPIO_InitStruct);

  /* EXTI interrupt init*/
  HAL_NVIC_SetPriority(EXTI9_5_IRQn, 0, 0);
  HAL_NVIC_EnableIRQ(EXTI9_5_IRQn);

  HAL_NVIC_SetPriority(EXTI15_10_IRQn, 0, 0);
  HAL_NVIC_EnableIRQ(EXTI15_10_IRQn);

}

void Error_Handler(void)
{
  __disable_irq();
  while (1)
  {
  }
}
